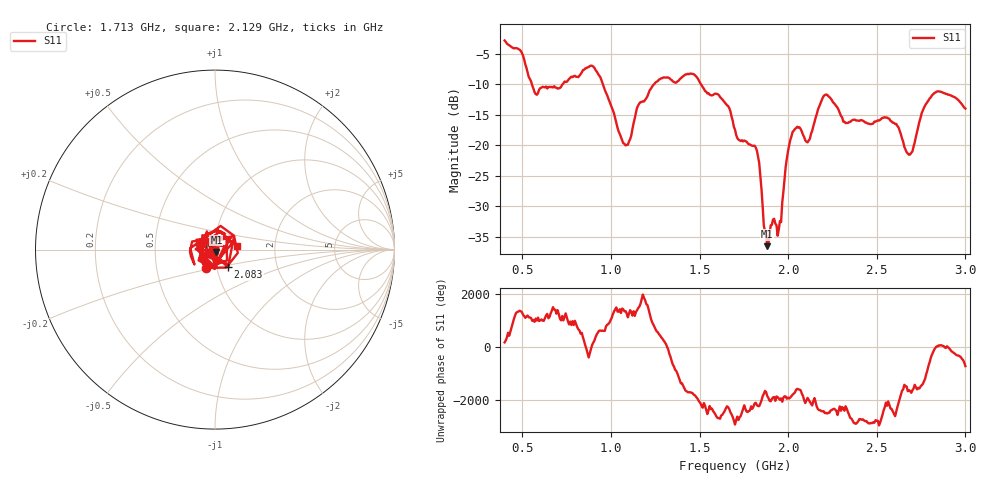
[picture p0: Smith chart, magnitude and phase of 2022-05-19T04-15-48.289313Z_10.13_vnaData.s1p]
!Created with skrf (http://scikit-rf.org).
# Hz S RI R 50.0
!freq ReS11 ImS11
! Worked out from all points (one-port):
!   401 points, 400 MHz to 3 GHz, reference 50 ohm
!   lowest |S11| = -36.6 dB at 1.882 GHz (marker M1), VSWR 1.03, Z = 50.8 - j1.29 ohm
!   |S11| at or under -10 dB: 553.6 MHz to 728.5 MHz (174.9 MHz wide, 27.3 % of centre); 953.9 MHz to 1.244 GHz (290.3 MHz wide, 26.4 % of centre); 1.507 GHz to end of sweep
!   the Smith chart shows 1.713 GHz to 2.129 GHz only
!   S11 on the Smith chart (normalised r, x): 1.713 GHz: 0.88, -0.18; 2.083 GHz: 1.13, -0.22; 2.129 GHz: 1.28, +0.05
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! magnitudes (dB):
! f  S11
! 400 MHz  -2.9
! 491 MHz  -4.6
! 575.5 MHz  -11.6
! 725 MHz  -10.1
! 900.5 MHz  -7.1
! 1.05 GHz  -18.2
! 1.095 GHz  -19.9
! 1.154 GHz  -13.5
! 1.258 GHz  -9.6
! 1.375 GHz  -9.6
! 1.46 GHz  -8.3
! 1.609 GHz  -11.8
! 1.7 GHz  -17.5
! 1.713 GHz  -18.8
! 1.823 GHz  -20.9
! 1.869 GHz  -34.1
! 1.882 GHz  -36.6
! 1.954 GHz  -32.4
! 1.992 GHz  -22.2
! 2.025 GHz  -17.8
! 2.083 GHz  -18.3
! 2.129 GHz  -18.1
! 2.213 GHz  -11.7
! 2.35 GHz  -16.2
! 2.558 GHz  -15.5
! 2.675 GHz  -21.4
! 2.825 GHz  -11.5
! 3 GHz  -14.0
